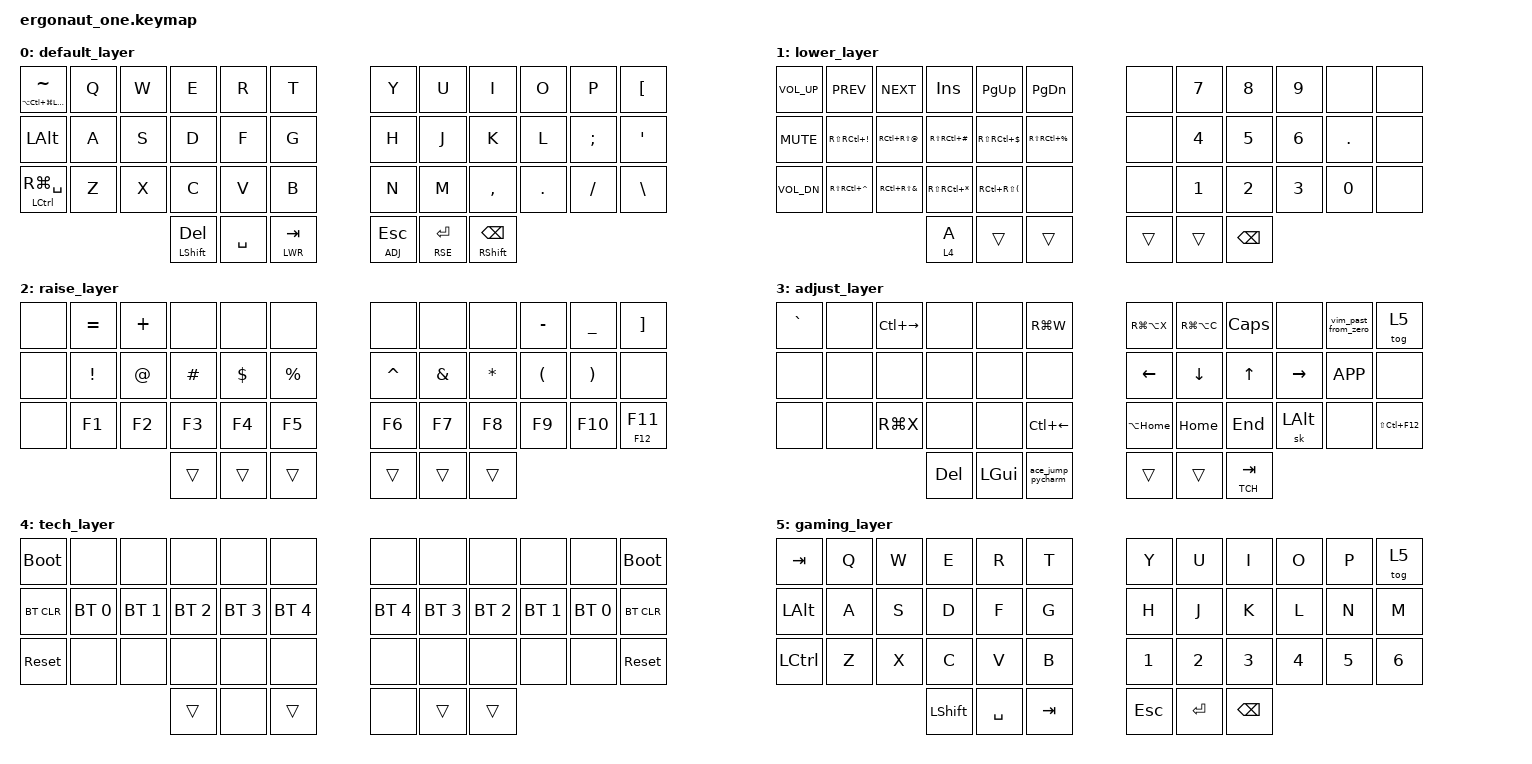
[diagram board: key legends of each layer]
/*
 * Copyright (c) 2021 Rafael Yumagulov
 *
 * SPDX-License-Identifier: MIT

 */

#include <behaviors.dtsi>
#include <dt-bindings/zmk/bt.h>
#include <dt-bindings/zmk/keys.h>

#define DEF 0
#define LWR 1
#define RSE 2
#define ADJ 3
#define TCH 4

&lt { quick_tap_ms = <140>; };

&mt { quick_tap_ms = <120>; };

&sk {
    release-after-ms = <2000>;
    quick-release;

    /delete-property/ ignore-modifiers;
};

/ {
    combos {
        combo_screenshot {
            timeout-ms = <50>;
            key-positions = <19 18>;
            bindings = <&kp PRINTSCREEN>;
        };

        compatible = "zmk,combos";
    };
};

/ {
    macros {
        ace_jump_pycharm: ace_jump_pycharm {
            label = "Acejump";
            compatible = "zmk,behavior-macro";
            #binding-cells = <0>;
            wait-ms = <40>;
            tap-ms = <40>;
            bindings = <&kp SPACE &kp SPACE &kp S>;
        };

        vim_past_from_zero: vim_past_from_zero {
            label = "vimpastzero";
            compatible = "zmk,behavior-macro";
            #binding-cells = <0>;
            wait-ms = <40>;
            tap-ms = <40>;
            bindings = <&kp LS(SQT) &kp N0 &kp P>;
        };

        vim_past_from_system: vim_past_from_system {
            label = "vimpastsystem";
            compatible = "zmk,behavior-macro";
            #binding-cells = <0>;
            wait-ms = <40>;
            tap-ms = <40>;
            bindings = <&kp LS(SQT) &kp LS(N8) &kp P>;
        };
    };

    behaviors {
        td_f112: tap_dance_f112 {
            compatible = "zmk,behavior-tap-dance";
            label = "td_f112";
            #binding-cells = <0>;
            tapping-term-ms = <300>;
            bindings = <&kp F11>, <&kp F12>;
        };

        td_78: tap_dance_78 {
            compatible = "zmk,behavior-tap-dance";
            label = "td_78";
            #binding-cells = <0>;
            tapping-term-ms = <300>;
            bindings = <&kp LC(KP_N7)>, <&kp LC(KP_N8)>;
        };

        td_49: tap_dance_49 {
            compatible = "zmk,behavior-tap-dance";
            label = "td_49";
            #binding-cells = <0>;
            tapping-term-ms = <300>;
            bindings = <&kp LC(KP_N4)>, <&kp LC(KP_N9)>;
        };

        td_50: tap_dance_50 {
            compatible = "zmk,behavior-tap-dance";
            label = "td_50";
            #binding-cells = <0>;
            tapping-term-ms = <300>;
            bindings = <&kp LC(KP_N5)>, <&kp LC(KP_N0)>;
        };
    };

    keymap {
        compatible = "zmk,keymap";

        default_layer {
            // -----------------------------------------------------------------------------------------
            // |none  | lang/meh    |  Q  |  W  |  E  |  R  |  T  |   |  Y  |  U   |  I  |  O  |  P  |  [   | none |
            //        | ctrl+tab    |  A  |  S  |  D  |  F  |  G  |   |  H  |  J   |  K  |  L  |  ;  | '    |
            //        | consoles    |  Z  |  X  |  C  |  V  |  B  |   |  N  |  M   |  ,  |  .  |  /  | \    |
            //                           | SHIFT/DEL | SPC | LWR/TAB |   | ADJ/ESC | RSE/ENT| SHIFT/BackSPACE |

            bindings = <
&mt LA(LC(LG(LEFT_SHIFT))) TILDE  &kp Q  &kp W  &kp E           &kp R      &kp T        &kp Y        &kp U        &kp I            &kp O    &kp P     &kp LBKT
&kp LEFT_ALT                      &kp A  &kp S  &kp D           &kp F      &kp G        &kp H        &kp J        &kp K            &kp L    &kp SEMI  &kp SQT
&mt LCTRL RG(SPACE)               &kp Z  &kp X  &kp C           &kp V      &kp B        &kp N        &kp M        &kp COMMA        &kp DOT  &kp FSLH  &kp BSLH
                                                &mt LSHIFT DEL  &kp SPACE  &lt LWR TAB  &lt ADJ ESC  &lt RSE RET  &mt RSHIFT BSPC
            >;
        };

        lower_layer {
            // -----------------------------------------------------------------------------------------
            // |     |  vol_up  |  PG_DN    |  PG_UP  |  INS    |  HOME   |  END    |   | none |  7  |  8  |  9  | none| none| none |
            //       |  mute    |  CTRL(1)  |  CTRL(2)|  CTRL(3)|  CTRL(4)|  CTRL(5)|   | none |  4  |  5  |  6  |  .  | none|
            //       |  vol_donw|  CTRL(6)  |  ALT    |  CTRL   |  SHIFT  |CTRL(7/8)|   | none |  1  |  2  |  3  |  0  |     |
            //                                  | TRANS |  TRANS   | TRANS |            | TRANS | TRANS  | TRANS |

            bindings = <
&kp C_VOLUME_UP  &kp C_PREV               &kp C_NEXT             &kp INS               &kp PG_UP                     &kp PAGE_DOWN        &none   &kp NUMBER_7  &kp NUMBER_8  &kp NUMBER_9  &none    &none
&kp K_MUTE       &kp RS(RC(EXCLAMATION))  &kp RC(RS(AT_SIGN))    &kp RS(RC(HASH))      &kp RS(RC(DOLLAR))            &kp RS(RC(PERCENT))  &none   &kp NUMBER_4  &kp NUMBER_5  &kp NUMBER_6  &kp DOT  &none
&kp C_VOL_DN     &kp RS(RC(CARET))        &kp RC(RS(AMPERSAND))  &kp RS(RC(ASTERISK))  &kp RC(RS(LEFT_PARENTHESIS))  &none                &none   &kp NUMBER_1  &kp NUMBER_2  &kp NUMBER_3  &kp N0   &none
                                                                 &lt 4 A               &trans                        &trans               &trans  &trans        &kp BSPC
            >;
        };

        raise_layer {
            // -----------------------------------------------------------------------------------------
            // |none | none |  =   |  +  |  none  |  none  |  none  |         | shift F10| shift alt F9| run line pycharm  |-   | _   | ]      |none|
            //       | none |  !   |  @  |  #     |  $     |  %     |         | ^            | &           |  *                | (  | )   | none   |
            //       | none |  F1  | F2  |  F3    |  F4    |  F5    |         | F6           | F7          | F8                | F9 | F10 | F11 F12|
            //                              | TRANS |  TRANS   | TRANS |        | TRANS | TRANS  | TRANS |

            bindings = <
&none  &kp EQUAL        &kp PLUS     &none     &none       &none        &none      &none          &none         &kp MINUS             &kp UNDERSCORE         &kp RIGHT_BRACKET
&none  &kp EXCLAMATION  &kp AT_SIGN  &kp HASH  &kp DOLLAR  &kp PERCENT  &kp CARET  &kp AMPERSAND  &kp ASTERISK  &kp LEFT_PARENTHESIS  &kp RIGHT_PARENTHESIS  &none
&none  &kp F1           &kp F2       &kp F3    &kp F4      &kp F5       &kp F6     &kp F7         &kp F8        &kp F9                &kp F10                &mt F12 F11
                                     &trans    &trans      &trans       &trans     &trans         &trans
            >;
        };

        adjust_layer {
            // -----------------------------------------------------------------------------------------
            // | none | `    |CTRL(RIGHT)| none |none |GUI(W)|          |   none   |  none |  CAPS   |  none   |  vim_past   |  none             |  none |
            //        | none | none      | none |none |none  |          |   LEFT   | DOWN  |  UP     | RIGHT   |  LT(HOME)   |  none             |
            //        | none |  none     |GUI(X)|none |none  |          |   SHIFT  | MENU  |  CTRL   |  ALT    |  none       |   SHIFT CTRL F12  |
            //           | TRANS |  GUI   | ace_jump_pycharm |        | TRANS | TRANS  | TRANS |

            bindings = <
&kp GRAVE  &none  &kp LC(RIGHT)  &none    &none     &kp RG(W)          &kp RG(LA(X))  &kp RG(LA(C))  &kp CAPS     &none      &vim_past_from_zero  &tog 5
&none      &none  &none          &none    &none     &none              &kp LEFT       &kp DOWN       &kp UP       &kp RIGHT  &kp K_APP            &none
&none      &none  &kp RG(X)      &none    &none     &kp LC(LEFT)       &kp LA(HOME)   &kp HOME       &kp END      &sk LALT   &none                &kp LS(LC(F12))
                                 &kp DEL  &kp LGUI  &ace_jump_pycharm  &trans         &trans         &lt TCH TAB
            >;
        };

        tech_layer {
            bindings = <
&bootloader  &none         &none         &none         &none         &none         &none         &none         &none         &none         &none         &bootloader
&bt BT_CLR   &bt BT_SEL 0  &bt BT_SEL 1  &bt BT_SEL 2  &bt BT_SEL 3  &bt BT_SEL 4  &bt BT_SEL 4  &bt BT_SEL 3  &bt BT_SEL 2  &bt BT_SEL 1  &bt BT_SEL 0  &bt BT_CLR
&sys_reset   &none         &none         &none         &none         &none         &none         &none         &none         &none         &none         &sys_reset
                                         &trans        &none         &trans        &none         &trans        &trans
            >;
        };

        gaming_layer {
            bindings = <
&kp TAB    &kp Q  &kp W  &kp E      &kp R      &kp T    &kp Y         &kp U         &kp I          &kp O         &kp P   &tog 5
&kp LALT   &kp A  &kp S  &kp D      &kp F      &kp G    &kp H         &kp J         &kp K          &kp L         &kp N   &kp M
&kp LCTRL  &kp Z  &kp X  &kp C      &kp V      &kp B    &kp NUMBER_1  &kp NUMBER_2  &kp NUMBER_3   &kp NUMBER_4  &kp N5  &kp NUMBER_6
                         &kp LSHFT  &kp SPACE  &kp TAB  &kp ESCAPE    &kp ENTER     &kp BACKSPACE
            >;
        };
    };
};
